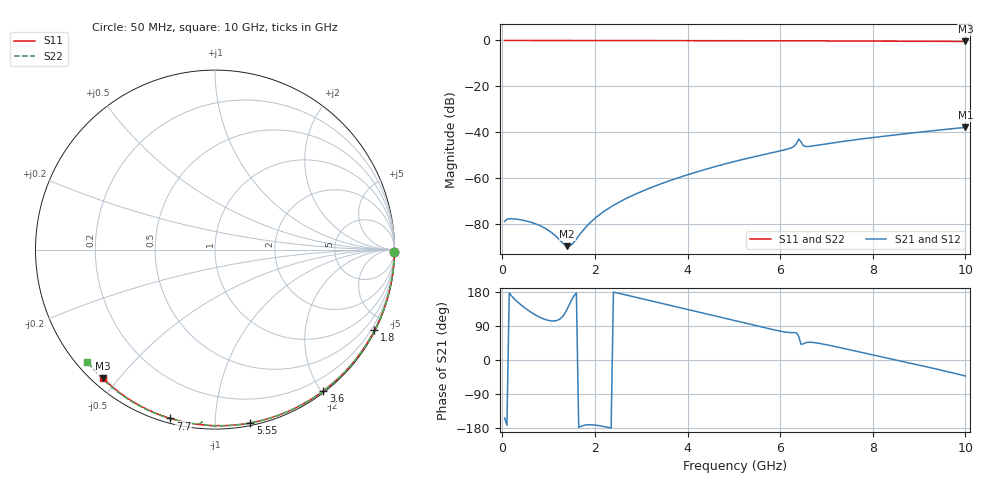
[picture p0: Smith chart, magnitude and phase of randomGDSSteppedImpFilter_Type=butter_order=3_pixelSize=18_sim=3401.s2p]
! freq	dB(S11)	phase(S11)	dB(S12)	phase(S12)
!  dB(S21)	phase(S21)	dB(S22)	phase(S22)
!S-par simulation data
#  GHz  S  DB  R 50
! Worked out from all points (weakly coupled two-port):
!   200 points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, 50 MHz to 10 GHz, reference 50 ohm
!   highest |S21| = -37.92 dB at 10 GHz (marker M1); lowest = -89.7 dB at 1.4 GHz (marker M2)
!   lowest |S11| = -0.4 dB at 10 GHz (marker M3), VSWR 39.31, Z = 1.53 - j22.7 ohm
!   |S11| at or under -10 dB: nowhere
!   |S22| runs from -0.5 to 0.0 dB; largest |S21 - S12| = 0
!   S11 on the Smith chart (normalised r, x): 50 MHz: open; 1.8 GHz: 0.04, -4.19; 3.6 GHz: 0.02, -2.03; 5.55 GHz: 0.02, -1.22; 7.7 GHz: 0.02, -0.77; 10 GHz: 0.03, -0.45
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0.05  -0.00 -0.8  -78.94 -152.5  -78.94 -152.5  -0.00 -0.8
0.1  -0.00 -1.5  -77.91 -172.4  -77.91 -172.4  -0.00 -1.6
0.2  -0.00 -3.0  -77.73 169.1  -77.73 169.1  -0.00 -3.2
0.75  -0.01 -11.3  -80.20 116.6  -80.20 116.6  -0.01 -12.0
1.4  -0.03 -21.0  -89.69 134.3  -89.69 134.3  -0.03 -22.2
1.75  -0.03 -26.1  -82.66 -172.7  -82.66 -172.7  -0.04 -27.7
1.8  -0.03 -26.9  -81.50 -171.5  -81.50 -171.5  -0.04 -28.4
1.9  -0.04 -28.3  -79.41 -170.9  -79.41 -170.9  -0.04 -30.0
2.2  -0.04 -32.7  -74.49 -175.6  -74.49 -175.6  -0.04 -34.6
2.55  -0.05 -37.7  -70.22 175.1  -70.22 175.1  -0.05 -39.9
3.4  -0.07 -49.8  -62.70 150.6  -62.70 150.6  -0.07 -52.6
3.6  -0.07 -52.5  -61.25 144.9  -61.25 144.9  -0.07 -55.5
5.05  -0.11 -72.0  -52.59 103.0  -52.59 103.0  -0.12 -76.1
5.55  -0.13 -78.5  -50.19 88.4  -50.19 88.4  -0.13 -82.9
6.25  -0.16 -87.3  -46.72 72.1  -46.72 72.1  -0.18 -92.5
6.35  -0.16 -88.5  -45.03 72.0  -45.03 72.0  -0.24 -94.1
6.4  -0.17 -89.1  -42.95 62.6  -42.95 62.6  -0.34 -94.5
6.5  -0.17 -90.3  -45.90 42.8  -45.90 42.8  -0.24 -94.9
6.7  -0.18 -92.8  -46.00 46.4  -46.00 46.4  -0.20 -97.7
7.7  -0.24 -104.8  -43.10 21.6  -43.10 21.6  -0.26 -110.5
8.35  -0.29 -112.4  -41.50 4.1  -41.50 4.1  -0.31 -118.6
10  -0.44 -131.1  -37.92 -42.2  -37.92 -42.2  -0.48 -138.7
